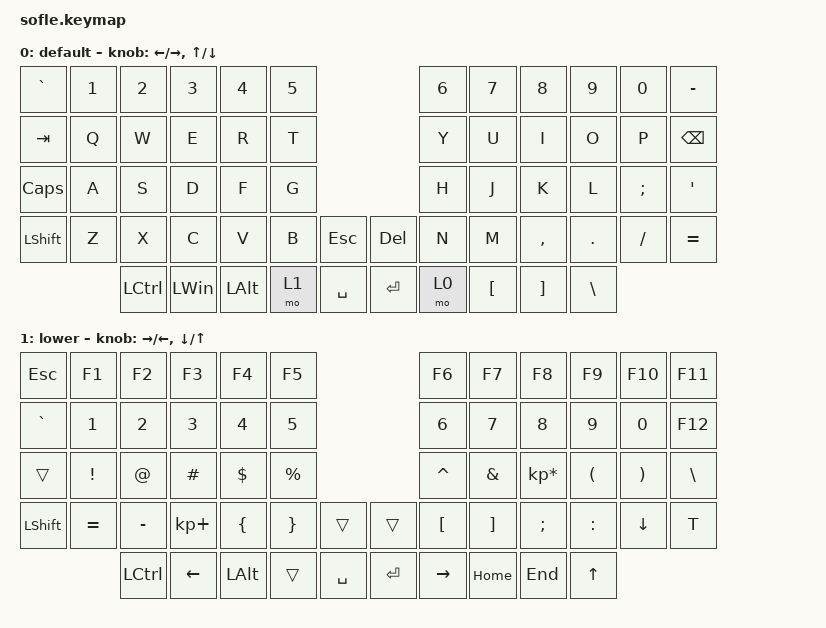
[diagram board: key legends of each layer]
/*
 * Copyright (c) 2020 The ZMK Contributors
 *
 * SPDX-License-Identifier: MIT
 */

#include <behaviors.dtsi>
#include <dt-bindings/zmk/keys.h>

#define BASE 0
#define LOWER 1
#define RAISE 2
#define ADJUST 3

/ {
    // Activate ADJUST layer by pressing raise and lower

    conditional_layers {
        compatible = "zmk,conditional-layers";

        adjust_layer {
            if-layers = <1 2>;
            then-layer = <3>;
        };
    };

    keymap {
        compatible = "zmk,keymap";

        default_layer {
            label = "default";

            // ------------------------------------------------------------------------------------------------------------
            // |   `   |  1  |  2  |  3   |  4   |  5   |                   |  6   |  7    |  8    |  9   |   0   |       |
            // |  ESC  |  Q  |  W  |  E   |  R   |  T   |                   |  Y   |  U    |  I    |  O   |   P   | BKSPC |
            // |  TAB  |  A  |  S  |  D   |  F   |  G   |                   |  H   |  J    |  K    |  L   |   ;   |   '   |
            // | SHIFT |  Z  |  X  |  C   |  V   |  B   |  MUTE  |  |       |  N   |  M    |  ,    |  .   |   /   | SHIFT |
            //               | GUI | ALT  | CTRL | LOWER|  ENTER |  | SPACE | RAISE| CTRL  | ALT   | GUI  |

            bindings = <
&kp GRAVE     &kp NUMBER_1  &kp N2     &kp N3        &kp N4        &kp N5                           &kp N6  &kp N7            &kp N8             &kp N9         &kp N0    &kp MINUS
&kp TAB       &kp Q         &kp W      &kp E         &kp R         &kp T                            &kp Y   &kp U             &kp I              &kp O          &kp P     &kp BSPC
&kp CAPSLOCK  &kp A         &kp S      &kp D         &kp F         &kp G                            &kp H   &kp J             &kp K              &kp L          &kp SEMI  &kp SQT
&kp LSHFT     &kp Z         &kp X      &kp C         &kp V         &kp B   &kp ESC      &kp DELETE  &kp N   &kp M             &kp COMMA          &kp DOT        &kp FSLH  &kp EQUAL
                            &kp LCTRL  &kp LEFT_WIN  &kp LEFT_ALT  &mo 1   &kp SPACE    &kp ENTER   &mo 0   &kp LEFT_BRACKET  &kp RIGHT_BRACKET  &kp BACKSLASH
            >;

            sensor-bindings =
                <&inc_dec_kp LEFT_ARROW RIGHT_ARROW>,
                <&inc_dec_kp UP_ARROW DOWN_ARROW>;
        };

        lower_layer {
            label = "lower";

            // TODO: Some binds are waiting for shifted keycode support.
            // ------------------------------------------------------------------------------------------------------------
            // |       |  F1 |  F2 |  F3  |  F4  |  F5  |                   |  F6  |  F7   |  F8   |  F9  |  F10  |  F11  |
            // |   `   |  1  |  2  |  3   |  4   |  5   |                   |  6   |  7    |  8    |  9   |   0   |  F12  |
            // |       |  !  |  @  |  #   |  $   |  %   |                   |  ^   |  &    |  *    |  (   |   )   |   |   |
            // |       |  =  |  -  |  +   |  {   |  }   |        |  |       |  [   |  ]    |  ;    |  :   |   \   |       |
            //               |     |      |      |      |        |  |       |      |       |       |      |

            bindings = <
&kp ESC         &kp F1     &kp F2     &kp F3          &kp F4        &kp F5                             &kp F6     &kp F7    &kp F8           &kp F9        &kp F10         &kp F11
&kp GRAVE       &kp N1     &kp N2     &kp N3          &kp N4        &kp N5                             &kp N6     &kp N7    &kp N8           &kp N9        &kp N0          &kp F12
&trans          &kp EXCL   &kp AT     &kp HASH        &kp DLLR      &kp PRCNT                          &kp CARET  &kp AMPS  &kp KP_MULTIPLY  &kp LPAR      &kp RPAR        &kp BACKSLASH
&kp LEFT_SHIFT  &kp EQUAL  &kp MINUS  &kp KP_PLUS     &kp LBRC      &kp RBRC   &trans       &trans     &kp LBKT   &kp RBKT  &kp SEMI         &kp COLON     &kp DOWN_ARROW  &kp T
                           &kp LCTRL  &kp LEFT_ARROW  &kp LEFT_ALT  &trans     &kp SPACE    &kp ENTER  &kp RIGHT  &kp HOME  &kp END          &kp UP_ARROW
            >;

            sensor-bindings =
                <&inc_dec_kp RIGHT_ARROW LEFT_ARROW>,
                <&inc_dec_kp DOWN_ARROW UP_ARROW>;
        };
    };
};
